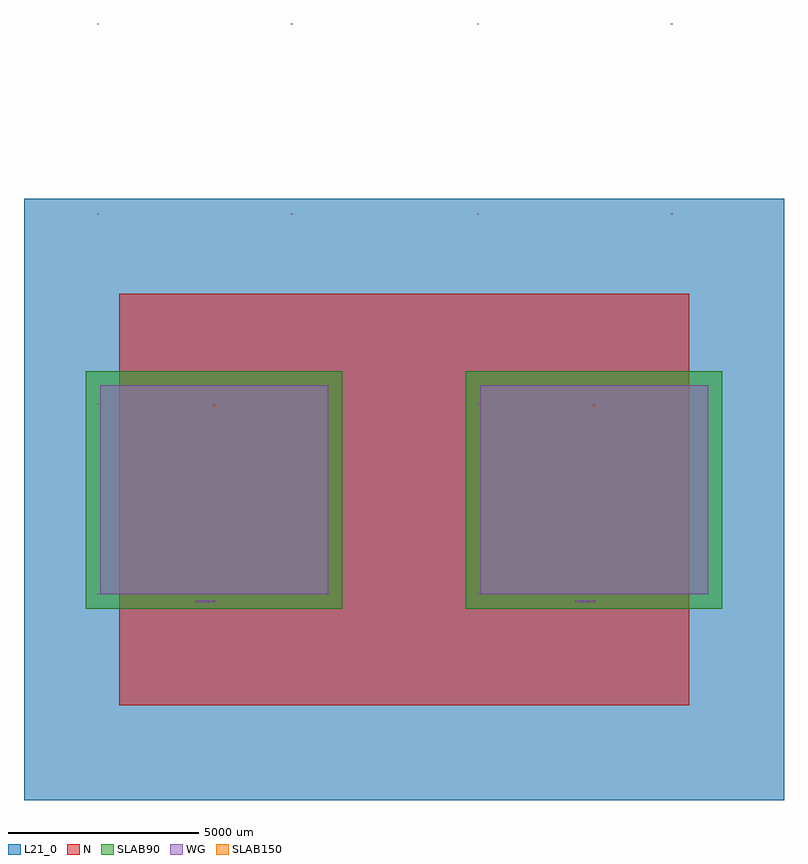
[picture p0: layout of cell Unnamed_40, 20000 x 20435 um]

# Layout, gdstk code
import gdstk
lib = gdstk.Library(unit=1e-6, precision=1e-09)
def R(c, l, rs):  # rectangles x0, y0, x1, y1
    for r in rs: c.add(gdstk.rectangle(r[:2], r[2:], *l))
def A(c, l, x, y, w, h, nx, ny, dx, dy):  # array of equal rectangles
    R(c, l, [(x+i*dx, y+j*dy, x+i*dx+w, y+j*dy+h) for i in range(nx) for j in range(ny)])
def P(c, l, *ps):  # polygons
    for p in ps: c.add(gdstk.Polygon(p, *l))
WG = (1, 0)
SLAB150 = (2, 0)
SLAB90 = (3, 0)
N = (20, 0)
L21_0 = (21, 0)

rectangle_s15000_10830__ = lib.new_cell('rectangle_S15000_10830__cd2686a7')
R(rectangle_s15000_10830__, N, [(0,0,15000,10830)])

rectangle_s20000_15830__ = lib.new_cell('rectangle_S20000_15830__41eada1f')
R(rectangle_s20000_15830__, L21_0, [(0,0,20000,15830)])

text_tms4_s20_p0_0_jleft = lib.new_cell('text_TMS4_S20_P0_0_Jleft_L1_0')
P(text_tms4_s20_p0_0_jleft, WG, [(22,0),(20,2),(20,4),(32,4),(32,8),(22,8),(20,10),(20,18),(22,20),(34,20),(36,18),(36,16),(24,16),(24,12),(34,12),(36,10),(36,2),(34,0)],
  [(46,0),(46,6),(38,6),(38,20),(42,20),(42,10),(46,10),(46,20),(50,20),(50,10),(52,10),(52,6),(50,6),(50,0)],
  [(2,0),(2,20),(6,20),(10,14),(14,20),(18,20),(18,0),(14,0),(14,12),(10,6),(6,12),(6,0)])

unnamed_26 = lib.new_cell('Unnamed_26')
unnamed_26.add(gdstk.Reference(text_tms4_s20_p0_0_jleft, (-80,0)))
unnamed_26.add(gdstk.Reference(text_tms4_s20_p0_0_jleft, (5020,0)))
unnamed_26.add(gdstk.Reference(text_tms4_s20_p0_0_jleft, (-80,5000)))
unnamed_26.add(gdstk.Reference(text_tms4_s20_p0_0_jleft, (5020,5000)))

text_tms3_s20_p0_0_jleft = lib.new_cell('text_TMS3_S20_P0_0_Jleft_L1_0')
P(text_tms3_s20_p0_0_jleft, WG, [(22,0),(20,2),(20,4),(32,4),(32,8),(22,8),(20,10),(20,18),(22,20),(34,20),(36,18),(36,16),(24,16),(24,12),(34,12),(36,10),(36,2),(34,0)],
  [(42,0),(38,4),(38,6),(42,6),(44,4),(46,4),(48,6),(46,8),(46,12),(48,14),(46,16),(44,16),(42,14),(38,14),(38,16),(42,20),(48,20),(52,16),(52,12),(50,10),(52,8),(52,4),(48,0)],
  [(2,0),(2,20),(6,20),(10,14),(14,20),(18,20),(18,0),(14,0),(14,12),(10,6),(6,12),(6,0)])

unnamed_25 = lib.new_cell('Unnamed_25')
unnamed_25.add(gdstk.Reference(text_tms3_s20_p0_0_jleft, (-80,0)))
unnamed_25.add(gdstk.Reference(text_tms3_s20_p0_0_jleft, (5020,0)))
unnamed_25.add(gdstk.Reference(text_tms3_s20_p0_0_jleft, (-80,5000)))
unnamed_25.add(gdstk.Reference(text_tms3_s20_p0_0_jleft, (5020,5000)))

text_tms2_s20_p0_0_jleft = lib.new_cell('text_TMS2_S20_P0_0_Jleft_L1_0')
P(text_tms2_s20_p0_0_jleft, WG, [(38,0),(38,4),(48,14),(48,16),(42,16),(42,14),(38,14),(38,18),(40,20),(50,20),(52,18),(52,12),(44,4),(52,4),(52,0)],
  [(22,0),(20,2),(20,4),(32,4),(32,8),(22,8),(20,10),(20,18),(22,20),(34,20),(36,18),(36,16),(24,16),(24,12),(34,12),(36,10),(36,2),(34,0)],
  [(2,0),(2,20),(6,20),(10,14),(14,20),(18,20),(18,0),(14,0),(14,12),(10,6),(6,12),(6,0)])

unnamed_24 = lib.new_cell('Unnamed_24')
unnamed_24.add(gdstk.Reference(text_tms2_s20_p0_0_jleft, (-80,0)))
unnamed_24.add(gdstk.Reference(text_tms2_s20_p0_0_jleft, (5020,0)))
unnamed_24.add(gdstk.Reference(text_tms2_s20_p0_0_jleft, (-80,5000)))
unnamed_24.add(gdstk.Reference(text_tms2_s20_p0_0_jleft, (5020,5000)))

text_tms1_s20_p0_0_jleft = lib.new_cell('text_TMS1_S20_P0_0_Jleft_L1_0')
P(text_tms1_s20_p0_0_jleft, WG, [(38,0),(38,4),(40,4),(40,12),(38,12),(38,16),(42,20),(44,20),(44,4),(46,4),(46,0)],
  [(22,0),(20,2),(20,4),(32,4),(32,8),(22,8),(20,10),(20,18),(22,20),(34,20),(36,18),(36,16),(24,16),(24,12),(34,12),(36,10),(36,2),(34,0)],
  [(2,0),(2,20),(6,20),(10,14),(14,20),(18,20),(18,0),(14,0),(14,12),(10,6),(6,12),(6,0)])

unnamed_23 = lib.new_cell('Unnamed_23')
unnamed_23.add(gdstk.Reference(text_tms1_s20_p0_0_jleft, (-80,0)))
unnamed_23.add(gdstk.Reference(text_tms1_s20_p0_0_jleft, (5020,0)))
unnamed_23.add(gdstk.Reference(text_tms1_s20_p0_0_jleft, (-80,5000)))
unnamed_23.add(gdstk.Reference(text_tms1_s20_p0_0_jleft, (5020,5000)))

unnamed_22 = lib.new_cell('Unnamed_22')
unnamed_22.add(gdstk.Reference(unnamed_26, (10000,10000)))
unnamed_22.add(gdstk.Reference(unnamed_25, (0,10000)))
unnamed_22.add(gdstk.Reference(unnamed_24, (10000,0)))
unnamed_22.add(gdstk.Reference(unnamed_23, (0,0)))

unnamed_39 = lib.new_cell('Unnamed_39')
R(unnamed_39, WG, [(2545,-190,2585,-180), (2910,-190,2950,-180), (12545,-190,12585,-180), (12910,-190,12950,-180), (2545,-170,2585,-160), (2910,-170,2950,-160), (12545,-170,12585,-160), (12910,-170,12950,-160)])
P(unnamed_39, WG, [(3000,-200),(2995,-195),(2995,-180),(3000,-175),(2995,-170),(2995,-155),(3000,-150),(3010,-150),(3010,-160),(3005,-160),(3005,-170),(3020,-170),(3020,-160),(3015,-160),(3015,-150),(3025,-150),(3030,-155),(3030,-170),(3025,-175),(3030,-180),(3030,-195),(3025,-200),(3015,-200),(3015,-190),(3020,-190),(3020,-180),(3005,-180),(3005,-190),(3010,-190),(3010,-200)],
  [(13000,-200),(12995,-195),(12995,-180),(13000,-175),(12995,-170),(12995,-155),(13000,-150),(13010,-150),(13010,-160),(13005,-160),(13005,-170),(13020,-170),(13020,-160),(13015,-160),(13015,-150),(13025,-150),(13030,-155),(13030,-170),(13025,-175),(13030,-180),(13030,-195),(13025,-200),(13015,-200),(13015,-190),(13020,-190),(13020,-180),(13005,-180),(13005,-190),(13010,-190),(13010,-200)],
  [(2975,-200),(2975,-185),(2955,-185),(2955,-150),(2965,-150),(2965,-175),(2975,-175),(2975,-150),(2985,-150),(2985,-175),(2990,-175),(2990,-185),(2985,-185),(2985,-200)],
  [(12975,-200),(12975,-185),(12955,-185),(12955,-150),(12965,-150),(12965,-175),(12975,-175),(12975,-150),(12985,-150),(12985,-175),(12990,-175),(12990,-185),(12985,-185),(12985,-200)],
  [(2595,-200),(2590,-195),(2590,-185),(2600,-185),(2600,-190),(2615,-190),(2615,-180),(2595,-180),(2590,-175),(2590,-150),(2625,-150),(2625,-160),(2600,-160),(2600,-170),(2620,-170),(2625,-175),(2625,-195),(2620,-200)],
  [(12595,-200),(12590,-195),(12590,-185),(12600,-185),(12600,-190),(12615,-190),(12615,-180),(12595,-180),(12590,-175),(12590,-150),(12625,-150),(12625,-160),(12600,-160),(12600,-170),(12620,-170),(12625,-175),(12625,-195),(12620,-200)],
  [(2505,-200),(2505,-150),(2515,-150),(2515,-190),(2540,-190),(2540,-200)],
  [(12505,-200),(12505,-150),(12515,-150),(12515,-190),(12540,-190),(12540,-200)],
  [(2800,-215),(2790,-205),(2815,-205),(2815,-200),(2801.7,-200),(2790,-190),(2790,-175),(2800,-165),(2825,-165),(2825,-180),(2815,-180),(2815,-175),(2805,-175),(2800,-180),(2800,-185),(2805,-190),(2815,-190),(2815,-185),(2825,-185),(2825,-210),(2820,-215)],
  [(12800,-215),(12790,-205),(12815,-205),(12815,-200),(12801.7,-200),(12790,-190),(12790,-175),(12800,-165),(12825,-165),(12825,-180),(12815,-180),(12815,-175),(12805,-175),(12800,-180),(12800,-185),(12805,-190),(12815,-190),(12815,-185),(12825,-185),(12825,-210),(12820,-215)],
  [(2840,-200),(2830,-190),(2830,-175),(2841.7,-165),(2855,-165),(2855,-161.25),(2865,-161.25),(2865,-180),(2855,-180),(2855,-175),(2845,-175),(2840,-180),(2840,-185),(2845,-190),(2855,-190),(2855,-185),(2865,-185),(2865,-200)],
  [(12840,-200),(12830,-190),(12830,-175),(12841.7,-165),(12855,-165),(12855,-161.25),(12865,-161.25),(12865,-180),(12855,-180),(12855,-175),(12845,-175),(12840,-180),(12840,-185),(12845,-190),(12855,-190),(12855,-185),(12865,-185),(12865,-200)],
  [(2648.5,-200),(2651,-190),(2655,-190),(2660,-185),(2660,-165),(2655,-160),(2657.5,-150),(2660,-150),(2670,-160),(2670,-190),(2660,-200)],
  [(2693.5,-200),(2696,-190),(2700,-190),(2705,-185),(2705,-165),(2700,-160),(2702.5,-150),(2705,-150),(2715,-160),(2715,-190),(2705,-200)],
  [(2738.5,-200),(2741,-190),(2745,-190),(2750,-185),(2750,-165),(2745,-160),(2747.5,-150),(2750,-150),(2760,-160),(2760,-190),(2750,-200)],
  [(12648.5,-200),(12651,-190),(12655,-190),(12660,-185),(12660,-165),(12655,-160),(12657.5,-150),(12660,-150),(12670,-160),(12670,-190),(12660,-200)],
  [(12693.5,-200),(12696,-190),(12700,-190),(12705,-185),(12705,-165),(12700,-160),(12702.5,-150),(12705,-150),(12715,-160),(12715,-190),(12705,-200)],
  [(12738.5,-200),(12741,-190),(12745,-190),(12750,-185),(12750,-165),(12745,-160),(12747.5,-150),(12750,-150),(12760,-160),(12760,-190),(12750,-200)],
  [(2640,-200),(2630,-190),(2630,-160),(2640,-150),(2651.5,-150),(2649,-160),(2645,-160),(2640,-165),(2640,-185),(2645,-190),(2642.5,-200)],
  [(2685,-200),(2675,-190),(2675,-160),(2685,-150),(2696.5,-150),(2694,-160),(2690,-160),(2685,-165),(2685,-185),(2690,-190),(2687.5,-200)],
  [(2730,-200),(2720,-190),(2720,-160),(2730,-150),(2741.5,-150),(2739,-160),(2735,-160),(2730,-165),(2730,-185),(2735,-190),(2732.5,-200)],
  [(12640,-200),(12630,-190),(12630,-160),(12640,-150),(12651.5,-150),(12649,-160),(12645,-160),(12640,-165),(12640,-185),(12645,-190),(12642.5,-200)],
  [(12685,-200),(12675,-190),(12675,-160),(12685,-150),(12696.5,-150),(12694,-160),(12690,-160),(12685,-165),(12685,-185),(12690,-190),(12687.5,-200)],
  [(12730,-200),(12720,-190),(12720,-160),(12730,-150),(12741.5,-150),(12739,-160),(12735,-160),(12730,-165),(12730,-185),(12735,-190),(12732.5,-200)],
  [(2870,-215),(2870,-185),(2880,-185),(2880,-190),(2890,-190),(2895,-185),(2895,-180),(2890,-175),(2880,-175),(2880,-180),(2870,-180),(2870,-165),(2895,-165),(2905,-175),(2905,-190),(2895,-200),(2880,-200),(2880,-215)],
  [(12870,-215),(12870,-185),(12880,-185),(12880,-190),(12890,-190),(12895,-185),(12895,-180),(12890,-175),(12880,-175),(12880,-180),(12870,-180),(12870,-165),(12895,-165),(12905,-175),(12905,-190),(12895,-200),(12880,-200),(12880,-215)])

unnamed_38 = lib.new_cell('Unnamed_38')
R(unnamed_38, SLAB150, [(2977,4951,3021,4997), (12977,4951,13021,4997)])

rectangle_s6743p4400000_ = lib.new_cell('rectangle_S6743p4400000_0f5b1054')
R(rectangle_s6743p4400000_, SLAB90, [(0,0,6743.44,6243.44)])

unnamed_18 = lib.new_cell('Unnamed_18')
unnamed_18.add(gdstk.Reference(rectangle_s6743p4400000_, (-371.72,-371.72)))
unnamed_18.add(gdstk.Reference(rectangle_s6743p4400000_, (9628.28,-371.72)))

unnamed_37 = lib.new_cell('Unnamed_37')
A(unnamed_37, WG, 500, 0, 48, 48, 100, 99, 50, 50)
A(unnamed_37, WG, 10500, 0, 48, 48, 100, 99, 50, 50)
A(unnamed_37, WG, 500, 4950, 48, 48, 49, 1, 50, 0)
A(unnamed_37, WG, 3050, 4950, 48, 48, 49, 1, 50, 0)
A(unnamed_37, WG, 10500, 4950, 48, 48, 49, 1, 50, 0)
A(unnamed_37, WG, 13050, 4950, 48, 48, 49, 1, 50, 0)
R(unnamed_37, WG, [(2950,4950,2974,4998), (3024,4950,3048,4998), (12950,4950,12974,4998), (13024,4950,13048,4998)])

unnamed_36 = lib.new_cell('Unnamed_36')
P(unnamed_36, WG, [(0,0),(0,5500),(6000,5500),(6000,0),(5500,0),(5500,5000),(498,5000),(498,0)],
  [(10000,0),(10000,5500),(16000,5500),(16000,0),(15500,0),(15500,5000),(10498,5000),(10498,0)])

unnamed_1 = lib.new_cell('Unnamed_1')
unnamed_1.add(gdstk.Reference(unnamed_22, (0,0)))
unnamed_1.add(gdstk.Reference(unnamed_39, (0,0)))
unnamed_1.add(gdstk.Reference(unnamed_38, (0,0)))
unnamed_1.add(gdstk.Reference(unnamed_18, (0,0)))
unnamed_1.add(gdstk.Reference(unnamed_37, (0,0)))
unnamed_1.add(gdstk.Reference(unnamed_36, (0,0)))

unnamed_40 = lib.new_cell('Unnamed_40')
unnamed_40.add(gdstk.Reference(rectangle_s15000_10830__, (0,0)))
unnamed_40.add(gdstk.Reference(rectangle_s20000_15830__, (-2500,-2500)))
unnamed_40.add(gdstk.Reference(unnamed_1, (-500,2915)))

lib.write_gds('Unnamed_40.gds')
